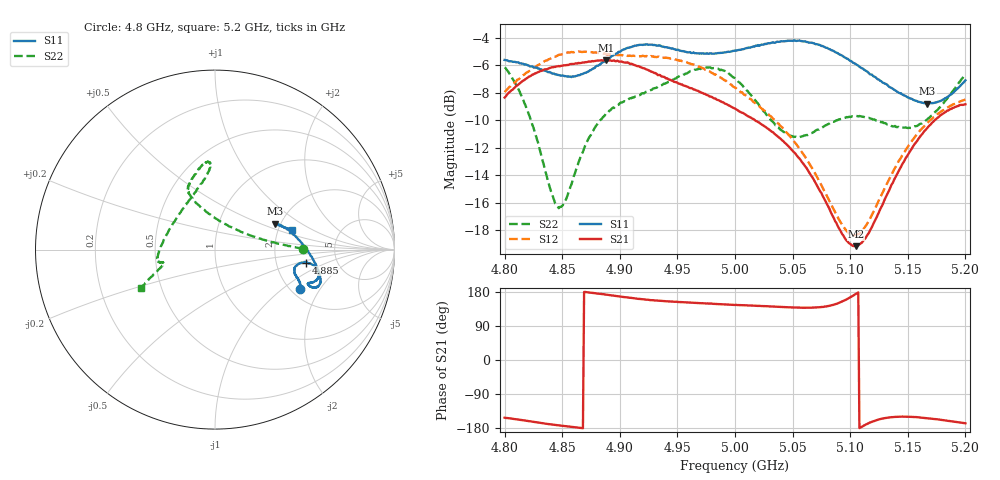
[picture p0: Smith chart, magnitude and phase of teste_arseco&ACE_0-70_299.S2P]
! Network Analyzer HP8722D
! Hewlett-Packard
! Data name: Linha & Wilkinson
! Saver's name: Rodrigo Anjos
! Comments: Teste da utilização de aquisição
! continua pelo VNA HP8722D
! Time and date: 8/5/2025 15:15
!  Frequency  S11  S21  S12  S22
# HZ  S  MA R 50
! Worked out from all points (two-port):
!   401 points, 4.8 GHz to 5.2 GHz, reference 50 ohm
!   highest |S21| = -5.63 dB at 4.888 GHz (marker M1); lowest = -19.2 dB at 5.105 GHz (marker M2)
!   |S21| within 3 dB of the highest: start of sweep to 4.988 GHz
!   lowest |S11| = -8.8 dB at 5.167 GHz (marker M3), VSWR 2.14, Z = 93.3 + j31 ohm
!   |S11| at or under -10 dB: nowhere
!   |S22| runs from -16.4 to -6.2 dB; largest |S21 - S12| = 1.1
!   S11 on the Smith chart (normalised r, x): 4.8 GHz: 2.24, -1.36; 4.885 GHz: 2.98, -0.58; 5.2 GHz: 2.36, +0.65
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4.8e9  0.5235 -24.9  0.3822 -152.3  0.3998 6.9  0.4917 0.5
4.82e9  0.5008 -20.5  0.451 -160.8  0.4729 4.1  0.3412 6.2
4.84e9  0.471 -17.5  0.4907 -169.8  0.5291 0.9  0.1754 34.4
4.846e9  0.4621 -16.3  0.4962 -172.1  0.5436 -0.3  0.1536 55.6
4.853e9  0.4571 -14.3  0.5006 -174.7  0.5542 -1.4  0.1617 80.9
4.867e9  0.4647 -10.7  0.5116 -179.7  0.5596 -3.4  0.2374 106.7
4.885e9  0.5131 -8.1  0.5208 173.9  0.5531 -4.5  0.3229 114.4
4.888e9  0.5225 -8.2  0.5228 172.5  0.5502 -4.3  0.3343 114.6
4.913e9  0.5902 -12.3  0.5015 162.6  0.5414 -3.6  0.3849 112.5
4.934e9  0.5909 -17.0  0.4617 156.2  0.5378 -4.3  0.419 107.3
4.976e9  0.5527 -20.2  0.3896 149.3  0.4796 -7.9  0.4907 94.9
5e9  0.5666 -21.1  0.3485 145.2  0.4158 -7.5  0.449 94.1
5.042e9  0.6126 -19.2  0.265 139.8  0.2938 0.2  0.2871 129.8
5.067e9  0.6045 -14.2  0.1965 138.1  0.2113 8.3  0.2841 165.1
5.093e9  0.543 -4.6  0.1218 154.3  0.1317 33.4  0.3201 -173.9
5.105e9  0.5048 1.2  0.11 174.3  0.1208 56.8  0.3273 -170.0
5.115e9  0.4742 6.1  0.121 -168.3  0.1334 75.4  0.322 -167.8
5.134e9  0.4174 15.6  0.1762 -151.6  0.1933 94.1  0.304 -166.5
5.152e9  0.3791 21.8  0.2437 -149.9  0.2594 98.7  0.2963 -164.8
5.167e9  0.3634 23.4  0.2964 -153.5  0.3088 99.2  0.3186 -161.6
5.183e9  0.3804 20.8  0.339 -159.7  0.349 99.0  0.3734 -157.8
5.2e9  0.4413 14.6  0.3612 -166.9  0.3763 99.7  0.465 -152.2
